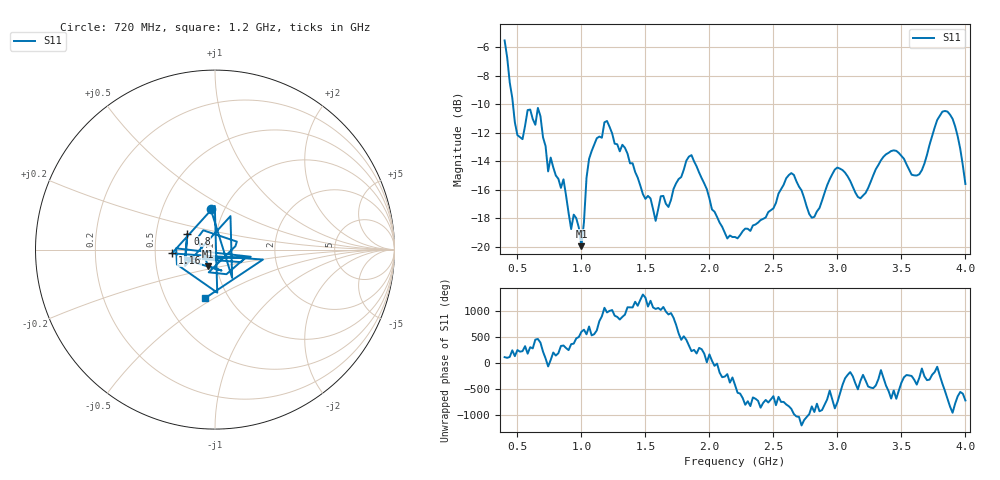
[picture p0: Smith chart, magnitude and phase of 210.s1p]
!Created with skrf (http://scikit-rf.org).
# Hz S RI R 50.0
!freq ReS11 ImS11
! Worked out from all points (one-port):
!   181 points, 400 MHz to 4 GHz, reference 50 ohm
!   lowest |S11| = -20.0 dB at 1 GHz (marker M1), VSWR 1.22, Z = 45.6 - j8.59 ohm
!   |S11| at or under -10 dB: 465 MHz to end of sweep
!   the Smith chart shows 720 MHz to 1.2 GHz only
!   S11 on the Smith chart (normalised r, x): 720 MHz: 0.86, +0.41; 800 MHz: 0.72, +0.13; 1.16 GHz: 0.61, -0.03; 1.2 GHz: 0.78, -0.46
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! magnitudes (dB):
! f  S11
! 400 MHz  -5.5
! 500 MHz  -12.2
! 660 MHz  -10.3
! 720 MHz  -12.9
! 740 MHz  -14.7
! 800 MHz  -15.0
! 860 MHz  -15.3
! 920 MHz  -18.8
! 960 MHz  -18.0
! 1 GHz  -20.0
! 1.06 GHz  -13.8
! 1.16 GHz  -12.4
! 1.2 GHz  -11.2
! 1.3 GHz  -13.3
! 1.58 GHz  -18.2
! 1.76 GHz  -15.2
! 1.86 GHz  -13.6
! 2.2 GHz  -19.3
! 2.66 GHz  -15.0
! 2.8 GHz  -18.0
! 2.98 GHz  -14.6
! 3.1 GHz  -15.4
! 3.18 GHz  -16.6
! 3.44 GHz  -13.2
! 3.56 GHz  -14.6
! 3.64 GHz  -14.9
! 3.86 GHz  -10.5
! 4 GHz  -15.6
